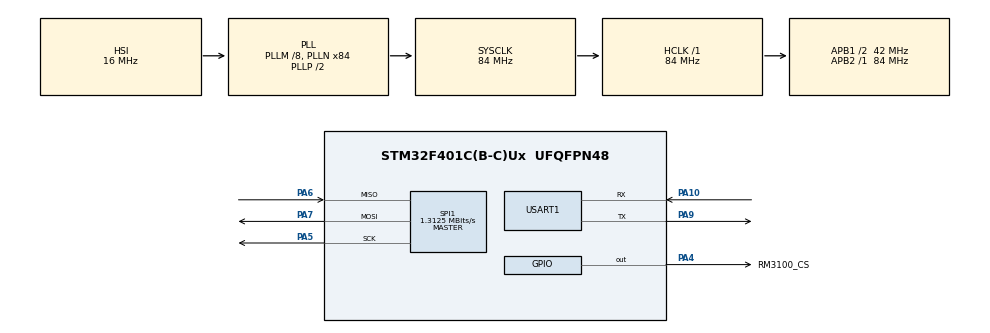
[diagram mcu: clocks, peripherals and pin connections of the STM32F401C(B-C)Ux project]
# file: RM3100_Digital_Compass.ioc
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Mcu.Family=STM32F4
Mcu.Name=STM32F401C(B-C)Ux
Mcu.Package=UFQFPN48
NVIC.PriorityGroup=NVIC_PRIORITYGROUP_4
PA10.Mode=Asynchronous
PA10.Signal=USART1_RX
PA4.GPIO_Label=RM3100_CS
PA4.Signal=GPIO_Output
PA5.Mode=Full_Duplex_Master
PA5.Signal=SPI1_SCK
PA6.Mode=Full_Duplex_Master
PA6.Signal=SPI1_MISO
PA7.Mode=Full_Duplex_Master
PA7.Signal=SPI1_MOSI
PA9.Mode=Asynchronous
PA9.Signal=USART1_TX
PH0\ -\ OSC_IN.Mode=HSE-External-Oscillator
PH0\ -\ OSC_IN.Signal=RCC_OSC_IN
PH1\ -\ OSC_OUT.Mode=HSE-External-Oscillator
PH1\ -\ OSC_OUT.Signal=RCC_OSC_OUT
ProjectManager.HeapSize=0x200
ProjectManager.StackSize=0x400
ProjectManager.TargetToolchain=STM32CubeIDE
RCC.48MHZClocksFreq_Value=42000000
RCC.AHBFreq_Value=84000000
RCC.APB1CLKDivider=RCC_HCLK_DIV2
RCC.APB1Freq_Value=42000000
RCC.APB1TimFreq_Value=84000000
RCC.APB2Freq_Value=84000000
RCC.APB2TimFreq_Value=84000000
RCC.CortexFreq_Value=84000000
RCC.HCLKFreq_Value=84000000
RCC.HSE_VALUE=25000000
RCC.HSI_VALUE=16000000
RCC.LSE_VALUE=32768
RCC.PLLM=8
RCC.PLLN=84
RCC.SYSCLKFreq_VALUE=84000000
RCC.SYSCLKSource=RCC_SYSCLKSOURCE_PLLCLK
RCC.VCOOutputFreq_Value=168000000
SPI1.BaudRatePrescaler=SPI_BAUDRATEPRESCALER_64
SPI1.CalculateBaudRate=1.3125 MBits/s
SPI1.Direction=SPI_DIRECTION_2LINES
SPI1.Mode=SPI_MODE_MASTER
SPI1.VirtualType=VM_MASTER
USART1.VirtualMode=VM_ASYNC
board=custom

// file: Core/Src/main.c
/* USER CODE BEGIN Header */
/**
 ******************************************************************************
 * @file           : main.c
 * @brief          : Main program body
 ******************************************************************************
 * @attention
 *
 * Copyright (c) 2025 STMicroelectronics.
 * All rights reserved.
 *
 * This software is licensed under terms that can be found in the LICENSE file
 * in the root directory of this software component.
 * If no LICENSE file comes with this software, it is provided AS-IS.
 *
 ******************************************************************************
 */
/* USER CODE END Header */
#include "main.h"
#include "RM3100.h"

/* USER CODE BEGIN Includes */
#include <math.h>
#include <stdio.h>
#include <string.h>
/* USER CODE END Includes */

/* USER CODE BEGIN PTD */

uint8_t Continuous_Measurement_Mode_Value;
uint8_t RM3100_Init_Status;

uint8_t Read_Measurement_Start_Address = 0xA4;
uint8_t buffer[9];

uint8_t Status_Read_Register_Address = 0xB4;
uint8_t RM3100_status;

int32_t Mx, My, Mz;

float Mx_uT, My_uT, Mz_uT;

static RM3100_ RM3100;

char sendData[100];

float heading;
float heading_cal;
float magnetic_declination = -9.76;

/* USER CODE END PTD */

SPI_HandleTypeDef hspi1;

UART_HandleTypeDef huart1;

void SystemClock_Config(void);
static void MX_GPIO_Init(void);
static void MX_USART1_UART_Init(void);
static void MX_SPI1_Init(void);

/* USER CODE BEGIN 0 */

uint8_t Check_RM3100_Status()
{
	uint8_t status;
	uint8_t data;
	uint8_t data1;
	uint8_t status_register = 0xB4;

	HAL_GPIO_WritePin(RM3100_CS_GPIO_Port, RM3100_CS_Pin, RESET);
	HAL_SPI_Transmit(&hspi1, &status_register, 1, 100);
	HAL_SPI_Receive(&hspi1, &data, 1, 100);
	HAL_GPIO_WritePin(RM3100_CS_GPIO_Port, RM3100_CS_Pin, SET);
	data1 = 0x80 & data;

	if (data1 == 0x00)
	{
		status = 0;
	}
	if (data1 == 0x80)
	{
		status = 1;
	}

	return status;
}

uint8_t RM3100_Init(uint8_t Continuous_Mode_value, uint8_t Update_Rate_Value, uint8_t Cycle_Count_Value)
{
	uint8_t RM3100_Init_Result;

	uint8_t CCX_MSB = 0x04;
	uint8_t CCX_MSB_Address_Read = 0x80 | CCX_MSB;
	uint8_t CC_Buffer[6] = { 0, Cycle_Count_Value, 0, Cycle_Count_Value, 0, Cycle_Count_Value };
	uint8_t CC_Buffer_Read[6];
	uint8_t Cycle_flag = 0;

	HAL_GPIO_WritePin(RM3100_CS_GPIO_Port, RM3100_CS_Pin, RESET);
	HAL_SPI_Transmit(&hspi1, &CCX_MSB, 1, 100);
	HAL_SPI_Transmit(&hspi1, CC_Buffer, 6, 100);
	HAL_GPIO_WritePin(RM3100_CS_GPIO_Port, RM3100_CS_Pin, SET);

	HAL_GPIO_WritePin(RM3100_CS_GPIO_Port, RM3100_CS_Pin, RESET);
	HAL_SPI_Transmit(&hspi1, &CCX_MSB_Address_Read, 1, 100);
	HAL_SPI_Receive(&hspi1, CC_Buffer_Read, 6, 100);
	HAL_GPIO_WritePin(RM3100_CS_GPIO_Port, RM3100_CS_Pin, SET);

	if (CC_Buffer_Read[1] == CC_Buffer[1])
	{
		Cycle_flag = 1;
	}
	else
	{
		Cycle_flag = 0;
	}

	uint8_t Continuous_Measurement_Mode_Address = RM3100_CMM;
	uint8_t Continuous_Measurement_Mode_Read_Address = (0x80 | RM3100_CMM);
	uint8_t Continuous_Measurement_Mode_Value = Continuous_Mode_value;
	uint8_t Continuous_Measurement_Mode_Read_Value = 0;
	uint8_t CMM_flag = 0;

	HAL_GPIO_WritePin(RM3100_CS_GPIO_Port, RM3100_CS_Pin, RESET);
	HAL_SPI_Transmit(&hspi1, &Continuous_Measurement_Mode_Address, 1, 100);
	HAL_SPI_Transmit(&hspi1, &Continuous_Measurement_Mode_Value, 1, 100);
	HAL_GPIO_WritePin(RM3100_CS_GPIO_Port, RM3100_CS_Pin, SET);

	HAL_GPIO_WritePin(RM3100_CS_GPIO_Port, RM3100_CS_Pin, RESET);
	HAL_SPI_Transmit(&hspi1, &Continuous_Measurement_Mode_Read_Address, 1, 100);
	HAL_SPI_Receive(&hspi1, &Continuous_Measurement_Mode_Read_Value, 1, 100);
	HAL_GPIO_WritePin(RM3100_CS_GPIO_Port, RM3100_CS_Pin, SET);

	if (Continuous_Measurement_Mode_Read_Value == Continuous_Measurement_Mode_Value)
	{
		CMM_flag = 1;
	}
	else
	{
		CMM_flag = 0;
	}

	uint8_t TMRC_Address = RM3100_TMRC;
	uint8_t TMRC_Address_Read = 0x80 | RM3100_TMRC;
	uint8_t TMRC_Value = Update_Rate_Value;
	uint8_t TMRC_Value_Read;
	uint8_t TMRC_flag = 0;

	HAL_GPIO_WritePin(RM3100_CS_GPIO_Port, RM3100_CS_Pin, RESET);
	HAL_SPI_Transmit(&hspi1, &TMRC_Address, 1, 100);
	HAL_SPI_Transmit(&hspi1, &TMRC_Value, 1, 100);
	HAL_GPIO_WritePin(RM3100_CS_GPIO_Port, RM3100_CS_Pin, SET);

	HAL_GPIO_WritePin(RM3100_CS_GPIO_Port, RM3100_CS_Pin, RESET);
	HAL_SPI_Transmit(&hspi1, &TMRC_Address_Read, 1, 100);
	HAL_SPI_Receive(&hspi1, &TMRC_Value_Read, 1, 100);
	HAL_GPIO_WritePin(RM3100_CS_GPIO_Port, RM3100_CS_Pin, SET);

	if (TMRC_Value_Read == TMRC_Value)
	{
		TMRC_flag = 1;
	}
	else
	{
		TMRC_flag = 0;
	}

	if (Cycle_flag == 1 && CMM_flag == 1 && TMRC_flag == 1)
	{
		RM3100_Init_Result = 1;
	}
	else
	{
		RM3100_Init_Result = 0;
	}

	return RM3100_Init_Result;

}

/* USER CODE END 0 */

int main(void)
{

	/* MCU Configuration--------------------------------------------------------*/

	/* Reset of all peripherals, Initializes the Flash interface and the Systick. */
	HAL_Init();

	/* Configure the system clock */
	SystemClock_Config();

	/* Initialize all configured peripherals */
	MX_GPIO_Init();
	MX_USART1_UART_Init();
	MX_SPI1_Init();
	/* USER CODE BEGIN 2 */

	Continuous_Measurement_Mode_Value = Set_CMM_Register(Read_X_Axis_On, Read_Y_Axis_On, Read_Z_Axis_On, DRDM, Continuous_Mode_On);

	RM3100.Continuous_Measurement_Value=Continuous_Measurement_Mode_Value;
	RM3100.Cycle_Count_Value=CC_100;
	RM3100.TMRC=Rate_150Hz;

	RM3100_Init_Status = RM3100_Init(RM3100.Continuous_Measurement_Value, RM3100.TMRC, RM3100.Cycle_Count_Value);

	//Hard Iron Calibration Settings
	//Calculate from MotionCal Magnetic Calibration Tool
	const float hard_iron[3] = { 7.06, -5.32, 4.93 };

	//Soft Iron Calibration Settings
	//Calculate from MotionCal Magnetic Calibration Tool
	const float soft_iron[3][3] = { { 0.974, 0.016, 0.026 }, { 0.016, 0.988, -0.009 }, { 0.026, -0.009, 1.040 } };

	/* USER CODE END 2 */

	/* Infinite loop */
	while (1)
	{

		static float hi_cal[3];
		float mag_data[] = { Mx_uT, My_uT, Mz_uT }; //Calibated magnetometer value

		RM3100_status = Check_RM3100_Status();
		if (Check_RM3100_Status() == 1)
		{
			HAL_GPIO_WritePin(RM3100_CS_GPIO_Port, RM3100_CS_Pin, RESET);
			HAL_SPI_Transmit(&hspi1, &Read_Measurement_Start_Address, 1, 100);
			HAL_SPI_Receive(&hspi1, buffer, 9, 100);
			HAL_GPIO_WritePin(RM3100_CS_GPIO_Port, RM3100_CS_Pin, SET);
		}

		Mx = Convert_Measurement_to_Int24(buffer[0], buffer[1], buffer[2]);
		My = Convert_Measurement_to_Int24(buffer[3], buffer[4], buffer[5]);
		Mz = Convert_Measurement_to_Int24(buffer[6], buffer[7], buffer[8]);

		float gain = (0.3671 * (float)RM3100.Cycle_Count_Value) + 1.5;

		Mx_uT=Mx/gain;
		My_uT=My/gain;
		Mz_uT=Mz/gain;

		//sprintf(sendData, "Raw:0,0,0,0,0,0,%d,%d,%d\r\n", Mx, My, Mz);
		sprintf(sendData, "%.2f,%.2f,%.2f\r\n", Mx_uT, My_uT, Mz_uT);
		HAL_UART_Transmit(&huart1, (uint8_t*) sendData, strlen(sendData), 1000);

		//Apply Hard iron offsets
		for (int i = 0; i < 3; i++)
		{
			hi_cal[i] = mag_data[i] - hard_iron[i];
		}

	  //Apply soft iron scaling
		for (int i = 0; i < 3; i++)
		{
			mag_data[i] = (soft_iron[i][0] * hi_cal[0]) + (soft_iron[i][1] * hi_cal[1]) + (soft_iron[i][2] * hi_cal[2]);
		}

		heading_cal = atan2(mag_data[1], mag_data[0]);
		heading_cal = (heading_cal * 180 / M_PI) + magnetic_declination;

		if (heading_cal < 0)
		{
			heading_cal += 2 * M_PI;
		}

		HAL_Delay(10);

	}
}

void SystemClock_Config(void)
{
	RCC_OscInitTypeDef RCC_OscInitStruct = { 0 };
	RCC_ClkInitTypeDef RCC_ClkInitStruct = { 0 };

	/** Configure the main internal regulator output voltage
	 */
	__HAL_RCC_PWR_CLK_ENABLE();
	__HAL_PWR_VOLTAGESCALING_CONFIG(PWR_REGULATOR_VOLTAGE_SCALE2);

	/** Initializes the RCC Oscillators according to the specified parameters
	 * in the RCC_OscInitTypeDef structure.
	 */
	RCC_OscInitStruct.OscillatorType = RCC_OSCILLATORTYPE_HSI;
	RCC_OscInitStruct.HSIState = RCC_HSI_ON;
	RCC_OscInitStruct.HSICalibrationValue = RCC_HSICALIBRATION_DEFAULT;
	RCC_OscInitStruct.PLL.PLLState = RCC_PLL_ON;
	RCC_OscInitStruct.PLL.PLLSource = RCC_PLLSOURCE_HSI;
	RCC_OscInitStruct.PLL.PLLM = 8;
	RCC_OscInitStruct.PLL.PLLN = 84;
	RCC_OscInitStruct.PLL.PLLP = RCC_PLLP_DIV2;
	RCC_OscInitStruct.PLL.PLLQ = 4;
	if (HAL_RCC_OscConfig(&RCC_OscInitStruct) != HAL_OK)
	{
		Error_Handler();
	}

	/** Initializes the CPU, AHB and APB buses clocks
	 */
	RCC_ClkInitStruct.ClockType = RCC_CLOCKTYPE_HCLK | RCC_CLOCKTYPE_SYSCLK | RCC_CLOCKTYPE_PCLK1 | RCC_CLOCKTYPE_PCLK2;
	RCC_ClkInitStruct.SYSCLKSource = RCC_SYSCLKSOURCE_PLLCLK;
	RCC_ClkInitStruct.AHBCLKDivider = RCC_SYSCLK_DIV1;
	RCC_ClkInitStruct.APB1CLKDivider = RCC_HCLK_DIV2;
	RCC_ClkInitStruct.APB2CLKDivider = RCC_HCLK_DIV1;

	if (HAL_RCC_ClockConfig(&RCC_ClkInitStruct, FLASH_LATENCY_2) != HAL_OK)
	{
		Error_Handler();
	}
}

static void MX_SPI1_Init(void)
{

	/* SPI1 parameter configuration*/
	hspi1.Instance = SPI1;
	hspi1.Init.Mode = SPI_MODE_MASTER;
	hspi1.Init.Direction = SPI_DIRECTION_2LINES;
	hspi1.Init.DataSize = SPI_DATASIZE_8BIT;
	hspi1.Init.CLKPolarity = SPI_POLARITY_LOW;
	hspi1.Init.CLKPhase = SPI_PHASE_1EDGE;
	hspi1.Init.NSS = SPI_NSS_SOFT;
	hspi1.Init.BaudRatePrescaler = SPI_BAUDRATEPRESCALER_64;
	hspi1.Init.FirstBit = SPI_FIRSTBIT_MSB;
	hspi1.Init.TIMode = SPI_TIMODE_DISABLE;
	hspi1.Init.CRCCalculation = SPI_CRCCALCULATION_DISABLE;
	hspi1.Init.CRCPolynomial = 10;
	if (HAL_SPI_Init(&hspi1) != HAL_OK)
	{
		Error_Handler();
	}

}

static void MX_USART1_UART_Init(void)
{

	huart1.Instance = USART1;
	huart1.Init.BaudRate = 115200;
	huart1.Init.WordLength = UART_WORDLENGTH_8B;
	huart1.Init.StopBits = UART_STOPBITS_1;
	huart1.Init.Parity = UART_PARITY_NONE;
	huart1.Init.Mode = UART_MODE_TX_RX;
	huart1.Init.HwFlowCtl = UART_HWCONTROL_NONE;
	huart1.Init.OverSampling = UART_OVERSAMPLING_16;
	if (HAL_UART_Init(&huart1) != HAL_OK)
	{
		Error_Handler();
	}

}

static void MX_GPIO_Init(void)
{
	GPIO_InitTypeDef GPIO_InitStruct = { 0 };

	/* GPIO Ports Clock Enable */
	__HAL_RCC_GPIOH_CLK_ENABLE();
	__HAL_RCC_GPIOA_CLK_ENABLE();

	/*Configure GPIO pin Output Level */
	HAL_GPIO_WritePin(RM3100_CS_GPIO_Port, RM3100_CS_Pin, GPIO_PIN_RESET);

	/*Configure GPIO pin : RM3100_CS_Pin */
	GPIO_InitStruct.Pin = RM3100_CS_Pin;
	GPIO_InitStruct.Mode = GPIO_MODE_OUTPUT_PP;
	GPIO_InitStruct.Pull = GPIO_NOPULL;
	GPIO_InitStruct.Speed = GPIO_SPEED_FREQ_LOW;
	HAL_GPIO_Init(RM3100_CS_GPIO_Port, &GPIO_InitStruct);

}

void Error_Handler(void)
{
	__disable_irq();
	while (1)
	{
	}
}
